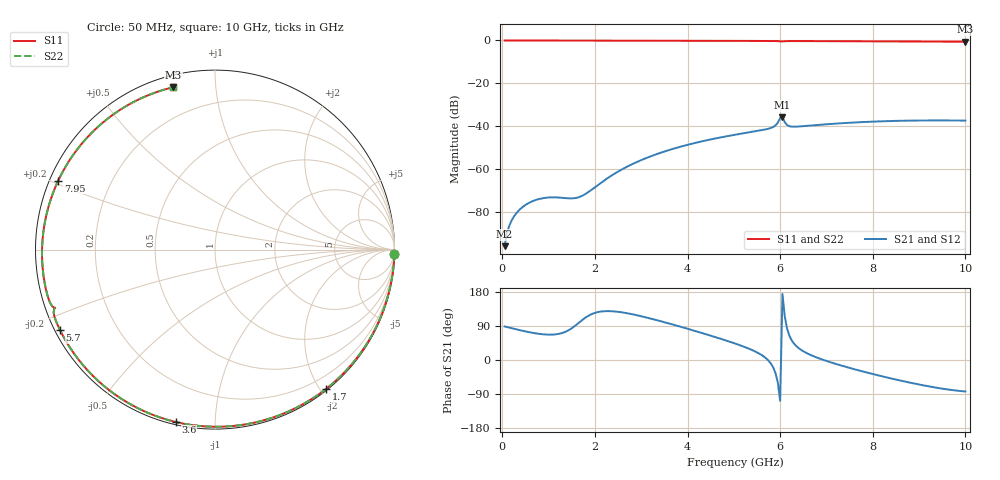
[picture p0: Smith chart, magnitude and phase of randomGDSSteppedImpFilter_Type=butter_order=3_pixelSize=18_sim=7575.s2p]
! freq	dB(S11)	phase(S11)	dB(S12)	phase(S12)
!  dB(S21)	phase(S21)	dB(S22)	phase(S22)
!S-par simulation data
#  GHz  S  DB  R 50
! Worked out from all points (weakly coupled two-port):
!   200 points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, 50 MHz to 10 GHz, reference 50 ohm
!   highest |S21| = -35.85 dB at 6.05 GHz (marker M1); lowest = -96.1 dB at 50 MHz (marker M2)
!   lowest |S11| = -0.6 dB at 10 GHz (marker M3), VSWR 29.26, Z = 2.74 + j38.7 ohm
!   |S11| at or under -10 dB: nowhere
!   |S22| runs from -0.6 to 0.0 dB; largest |S21 - S12| = 0
!   S11 on the Smith chart (normalised r, x): 50 MHz: 0, -73; 1.7 GHz: 0.02, -2.07; 3.6 GHz: 0.01, -0.80; 5.7 GHz: 0.01, -0.24; 7.95 GHz: 0.02, +0.21; 10 GHz: 0.05, +0.77
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0.05  -0.00 -1.6  -96.15 88.5  -96.15 88.5  -0.00 -1.6
0.3  -0.01 -9.3  -80.84 81.0  -80.84 81.0  -0.01 -9.3
0.6  -0.03 -18.6  -75.66 72.9  -75.66 72.9  -0.03 -18.6
0.85  -0.03 -26.2  -73.84 68.2  -73.84 68.2  -0.03 -26.2
1.5  -0.06 -45.7  -73.80 83.8  -73.80 83.8  -0.06 -45.7
1.7  -0.07 -51.5  -72.86 103.0  -72.86 103.0  -0.07 -51.5
1.75  -0.07 -53.0  -72.33 107.8  -72.33 107.8  -0.07 -53.0
2.6  -0.10 -76.8  -60.07 125.4  -60.07 125.4  -0.10 -76.8
3.4  -0.12 -97.8  -52.63 103.1  -52.63 103.1  -0.12 -97.8
3.6  -0.13 -102.9  -51.23 96.4  -51.23 96.4  -0.13 -102.9
5.05  -0.20 -137.7  -43.98 42.5  -43.98 42.5  -0.20 -137.7
5.7  -0.24 -152.7  -41.51 4.1  -41.51 4.1  -0.24 -152.7
5.9  -0.27 -157.5  -39.71 -34.8  -39.71 -34.8  -0.27 -157.5
6  -0.42 -160.0  -36.22 -107.6  -36.22 -107.6  -0.42 -159.9
6.05  -0.47 -159.9  -35.85 174.2  -35.85 174.2  -0.47 -159.9
6.1  -0.35 -160.7  -38.23 114.6  -38.23 114.6  -0.35 -160.7
6.2  -0.29 -163.3  -40.09 63.8  -40.09 63.8  -0.29 -163.3
6.7  -0.31 -174.9  -39.70 11.0  -39.70 11.0  -0.31 -174.9
7.95  -0.41 156.2  -37.98 -35.5  -37.98 -35.5  -0.41 156.2
8.35  -0.44 146.6  -37.68 -47.4  -37.68 -47.4  -0.44 146.7
9.25  -0.52 124.2  -37.38 -70.4  -37.38 -70.4  -0.52 124.2
10  -0.59 104.4  -37.43 -83.1  -37.43 -83.1  -0.59 104.4
